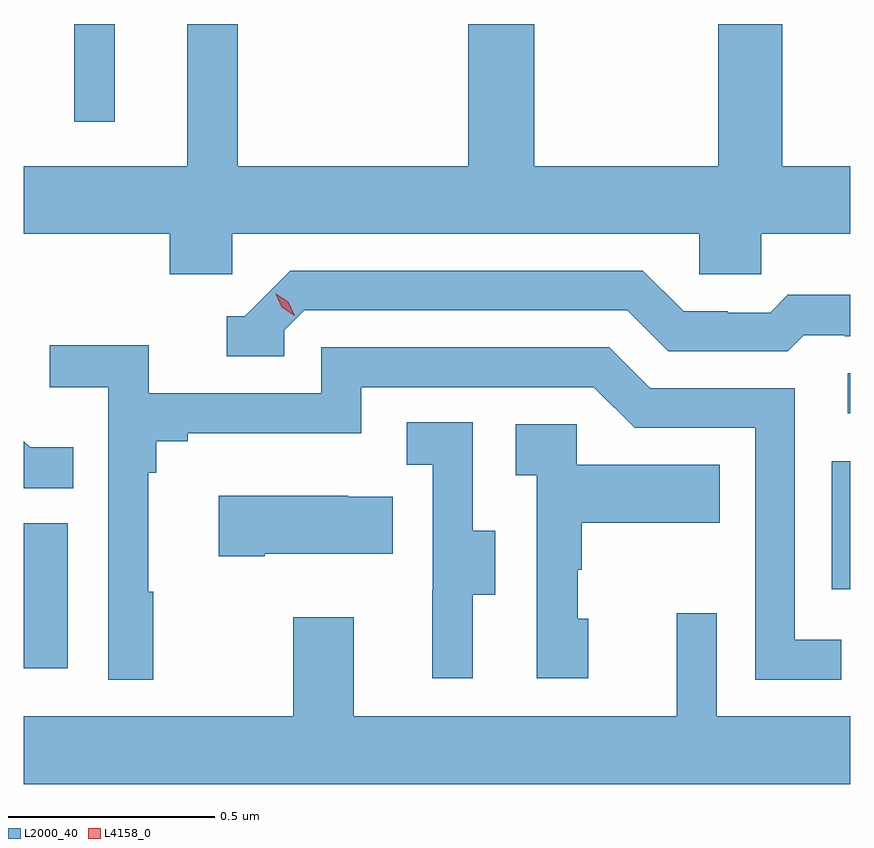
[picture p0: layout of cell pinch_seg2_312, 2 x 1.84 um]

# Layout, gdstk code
import gdstk
lib = gdstk.Library(unit=1e-6, precision=1e-09)
def R(c, l, rs):  # rectangles x0, y0, x1, y1
    for r in rs: c.add(gdstk.rectangle(r[:2], r[2:], *l))
def P(c, l, *ps):  # polygons
    for p in ps: c.add(gdstk.Polygon(p, *l))
L2000_40 = (2000, 40)
L4158_0 = (4158, 0)

pinch_seg2_312 = lib.new_cell('pinch_seg2_312')
R(pinch_seg2_312, L2000_40, [(902.214,638.592,902.32,638.943), (904.17,638.784,904.214,639.094), (904.209,639.21,904.214,639.306), (902.336,639.915,902.434,640.152)])
P(pinch_seg2_312, L2000_40, [(902.718,639.644),(903.849,639.644),(903.849,639.546),(903.999,639.546),(903.999,639.644),(904.214,639.644),(904.214,639.808),(904.05,639.808),(904.05,640.152),(903.895,640.152),(903.895,639.808),(903.45,639.808),(903.45,640.152),(903.29,640.152),(903.29,639.808),(902.731,639.808),(902.731,640.152),(902.609,640.152),(902.609,639.808),(902.214,639.808),(902.214,639.644),(902.567,639.644),(902.567,639.546),(902.718,639.546)],
  [(902.844,639.411),(902.892,639.459),(903.675,639.459),(903.774,639.36),(904.063,639.36),(904.102,639.399),(904.201,639.399),(904.201,639.396),(904.214,639.396),(904.214,639.496),(904.063,639.496),(904.021,639.453),(903.918,639.453),(903.918,639.456),(903.811,639.456),(903.712,639.555),(902.859,639.555),(902.748,639.444),(902.705,639.444),(902.705,639.348),(902.844,639.348)],
  [(902.527,638.777),(902.515,638.777),(902.515,639.065),(902.534,639.065),(902.534,639.142),(902.611,639.142),(902.611,639.161),(903.03,639.161),(903.03,639.273),(903.594,639.273),(903.693,639.174),(903.984,639.174),(903.984,638.565),(904.193,638.565),(904.193,638.661),(904.08,638.661),(904.08,639.27),(903.73,639.27),(903.631,639.369),(902.934,639.369),(902.934,639.258),(902.516,639.258),(902.516,639.374),(902.277,639.374),(902.277,639.272),(902.418,639.272),(902.418,638.565),(902.527,638.565)],
  [(903.301,638.77),(903.355,638.77),(903.355,638.925),(903.3,638.925),(903.3,639.188),(903.141,639.188),(903.141,639.085),(903.204,639.085),(903.204,638.781),(903.203,638.781),(903.203,638.568),(903.301,638.568)],
  [(903.58,638.712),(903.555,638.712),(903.555,638.831),(903.565,638.831),(903.565,638.945),(903.899,638.945),(903.899,639.085),(903.552,639.085),(903.552,639.183),(903.405,639.183),(903.405,639.059),(903.456,639.059),(903.456,638.568),(903.58,638.568)],
  [(902.333,639.127),(902.229,639.127),(902.214,639.142),(902.214,639.028),(902.333,639.028)],
  [(902.797,638.87),(903.107,638.87),(903.107,639.007),(902.999,639.007),(902.999,639.01),(902.685,639.01),(902.685,638.863),(902.797,638.863)],
  [(904.214,638.476),(903.891,638.476),(903.891,638.725),(903.794,638.725),(903.794,638.476),(903.013,638.476),(903.013,638.716),(902.866,638.716),(902.866,638.476),(902.214,638.476),(902.214,638.312),(904.214,638.312)])
P(pinch_seg2_312, L4158_0, [(902.869,639.446),(902.838,639.466),(902.823,639.499),(902.823,639.499),(902.823,639.499),(902.854,639.479),(902.869,639.446),(902.869,639.446)])

lib.write_gds('pinch_seg2_312.gds')
